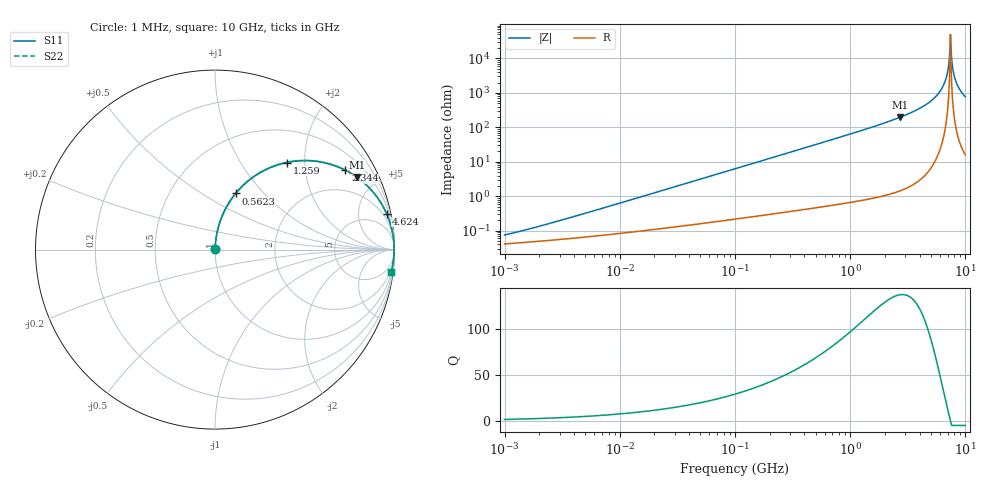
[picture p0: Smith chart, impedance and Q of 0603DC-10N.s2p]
# MHz  S  MA  R  50
!Freq  MagS11  AngS11  MagS21  AngS21  MagS12  AngS12  MagS22  AngS22
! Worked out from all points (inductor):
!   801 points, 1 MHz to 10 GHz, reference 50 ohm
!   read as one part in series: L = 10 nH near 2.541 MHz
!   highest Q = 137 at 2.692 GHz (marker M1), where L = 11.5 nH
!   self-resonance near 7.413 GHz
!   S11 on the Smith chart (normalised r, x): 1 MHz: 1.00, +0.00; 562.3 MHz: 1.01, +0.71; 1.259 GHz: 1.02, +1.63; 2.344 GHz: 1.02, +3.27; 4.624 GHz: 1.09, +9.50; 10 GHz: 1, -15
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1  0.0007527 56.5  0.9996 -0.0  0.9996 -0.0  0.0007527 56.5
4.677351  0.003006 77.5  0.9994 -0.2  0.9994 -0.2  0.003006 77.5
21.62719  0.01362 84.5  0.9988 -0.8  0.9988 -0.8  0.01362 84.5
101.1579  0.06334 84.4  0.9958 -3.6  0.9958 -3.6  0.06334 84.4
467.7351  0.2819 72.8  0.9552 -16.4  0.9552 -16.4  0.2819 72.8
562.3413  0.3334 69.7  0.9382 -19.5  0.9382 -19.5  0.3334 69.7
1258.925  0.6287 50.5  0.7719 -38.9  0.7719 -38.9  0.6287 50.5
2162.719  0.8266 33.8  0.5566 -55.7  0.5566 -55.7  0.8266 33.8
2344.229  0.8505 31.3  0.5198 -58.3  0.5198 -58.3  0.8505 31.3
2691.535  0.8869 27.1  0.4555 -62.5  0.4555 -62.5  0.8869 27.1
4623.81  0.9766 11.9  0.2057 -77.6  0.2057 -77.6  0.9766 11.9
5559.043  0.9904 7.1  0.1244 -82.0  0.1244 -82.0  0.9904 7.1
6309.573  0.9957 4.0  0.06961 -84.5  0.06961 -84.5  0.9957 4.0
6760.83  0.9973 2.3  0.03994 -85.0  0.03994 -85.0  0.9973 2.3
6918.31  0.9977 1.7  0.03008 -84.7  0.03008 -84.7  0.9977 1.7
7161.434  0.998 0.9  0.01535 -81.9  0.01535 -81.9  0.998 0.9
7413.102  0.998 0.0  0.002012 -12.6  0.002012 -12.6  0.998 0.0
7673.615  0.9979 -0.8  0.01449 81.2  0.01449 81.2  0.9979 -0.8
8035.261  0.9973 -2.0  0.03414 84.5  0.03414 84.5  0.9973 -2.0
8413.951  0.9964 -3.1  0.05387 84.6  0.05387 84.6  0.9964 -3.1
9120.108  0.9937 -5.1  0.08855 83.4  0.08855 83.4  0.9937 -5.1
10000  0.9891 -7.4  0.1285 81.4  0.1285 81.4  0.9891 -7.4
